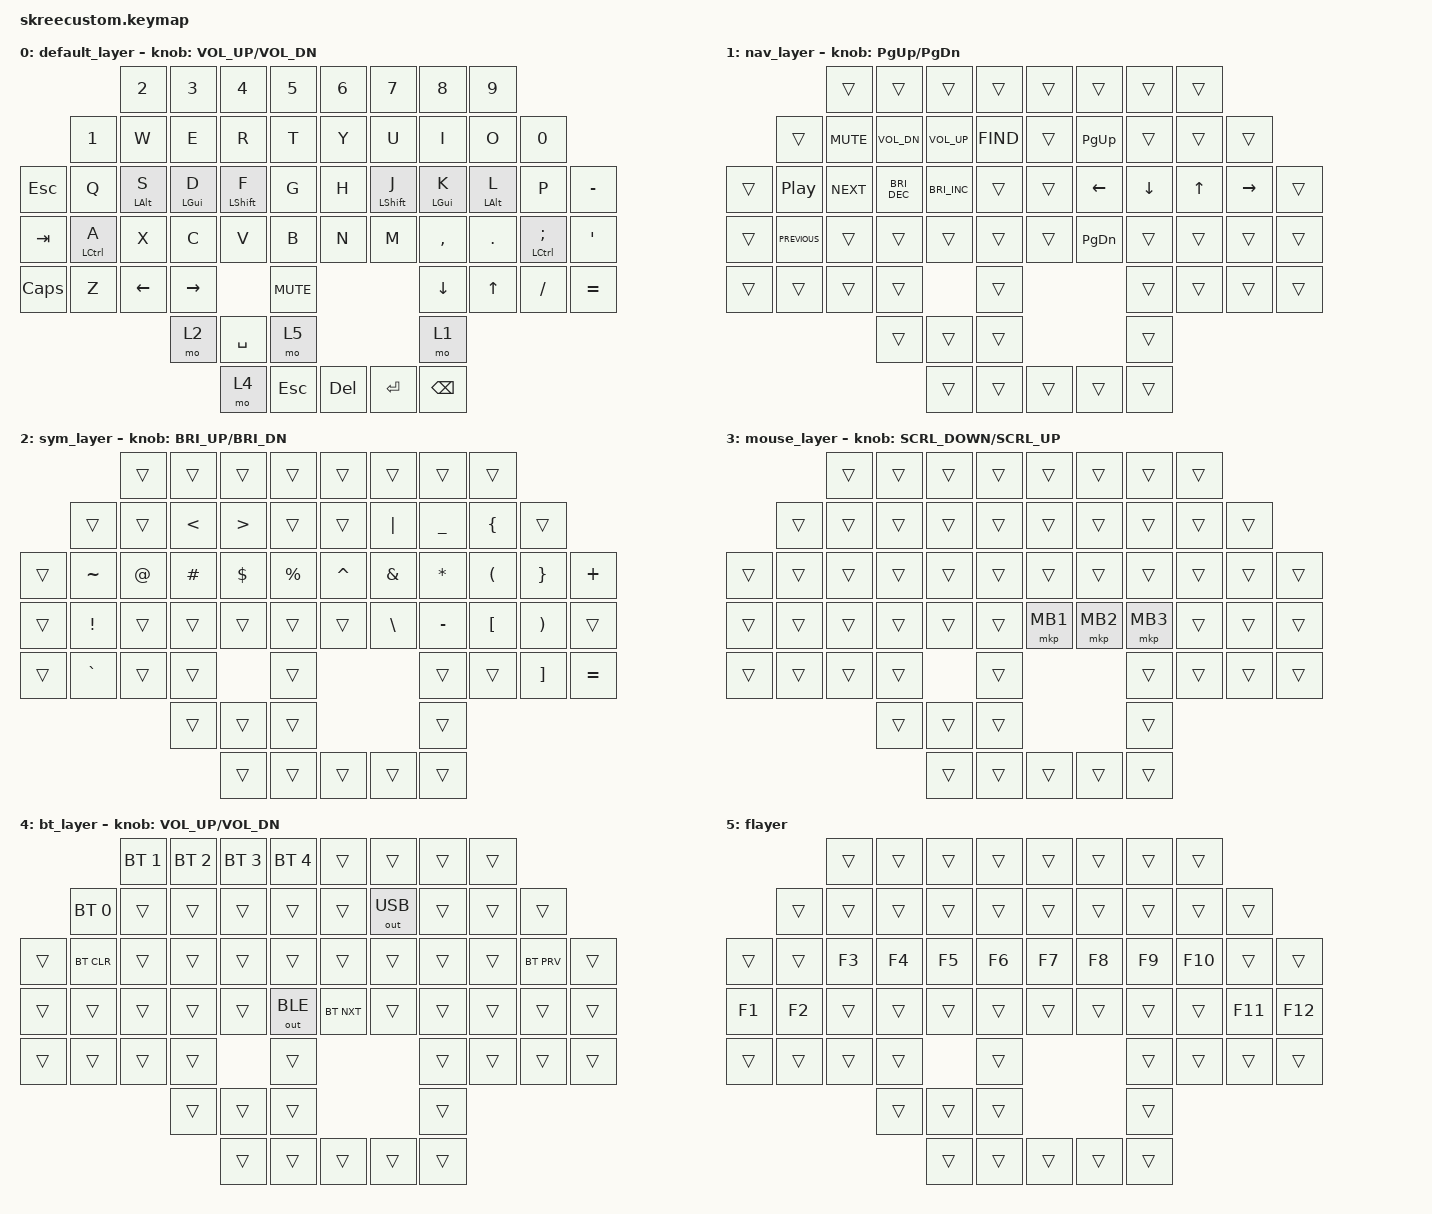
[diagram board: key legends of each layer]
// Generated by zmk-layout --recommend --emit-keymap
// Review before flashing. Copy any extra layers from your existing
// .keymap if you need them — only the layers below are emitted.

#define ZMK_POINTING_DEFAULT_SCRL_VAL 30

#include <input/processors.dtsi>
#include <dt-bindings/zmk/input_transform.h>
#include <dt-bindings/zmk/mouse.h>
#include <behaviors/msc_temp_layer.dtsi>
#include <behaviors.dtsi>
#include <dt-bindings/zmk/bt.h>
#include <dt-bindings/zmk/keys.h>
#include <dt-bindings/zmk/outputs.h>
#include <dt-bindings/zmk/pointing.h>

/ {
    behaviors {
        hm: home_row_mod {
            compatible = "zmk,behavior-hold-tap";
            #binding-cells = <2>;
            flavor = "balanced";
            tapping-term-ms = <280>;
            quick-tap-ms = <175>;
            require-prior-idle-ms = <150>;
            bindings = <&kp>, <&kp>;
        };
    };

    macros {
        vim_save: vim_save {
            compatible = "zmk,behavior-macro";
            #binding-cells = <0>;
            bindings = <&kp ESC &kp COLON &kp W &kp RET>;
        };

        vim_save_quit: vim_save_quit {
            compatible = "zmk,behavior-macro";
            #binding-cells = <0>;
            bindings = <&kp ESC &kp COLON &kp W &kp Q &kp RET>;
        };

        vim_force_quit: vim_force_quit {
            compatible = "zmk,behavior-macro";
            #binding-cells = <0>;
            bindings = <&kp ESC &kp COLON &kp Q &kp EXCL &kp RET>;
        };

        vim_top: vim_top {
            compatible = "zmk,behavior-macro";
            #binding-cells = <0>;
            bindings = <&kp ESC &kp G &kp G>;
        };

        vim_bottom: vim_bottom {
            compatible = "zmk,behavior-macro";
            #binding-cells = <0>;
            bindings = <&kp ESC &kp LS(G)>;
        };

        vim_dup_line: vim_dup_line {
            compatible = "zmk,behavior-macro";
            #binding-cells = <0>;
            bindings = <&kp ESC &kp Y &kp Y &kp P>;
        };

        vim_del_line: vim_del_line {
            compatible = "zmk,behavior-macro";
            #binding-cells = <0>;
            bindings = <&kp ESC &kp D &kp D>;
        };
    };

    keymap {
        compatible = "zmk,keymap";

        default_layer {
            bindings = <
                           &kp N2      &kp N3      &kp N4       &kp N5                 &kp N6   &kp N7       &kp N8      &kp N9
              &kp N1       &kp W       &kp E       &kp R        &kp T                  &kp Y    &kp U        &kp I       &kp O       &kp N0
&kp ESCAPE    &kp Q        &hm LALT S  &hm LGUI D  &hm LSHFT F  &kp G                  &kp H    &hm LSHFT J  &hm LGUI K  &hm LALT L  &kp P           &kp MINUS
&kp TAB       &hm LCTRL A  &kp X       &kp C       &kp V        &kp B                  &kp N    &kp M        &kp COMMA   &kp DOT     &hm LCTRL SEMI  &kp SINGLE_QUOTE
&kp CAPSLOCK  &kp Z        &kp LEFT    &kp RIGHT                         &kp C_MUTE                          &kp DOWN    &kp UP      &kp FSLH        &kp EQUAL
                                       &mo 2       &kp SPACE    &mo 5                                        &mo 1
                                                   &mo 4        &kp ESC                &kp DEL  &kp RET      &kp BSPC
            >;

            sensor-bindings = <&inc_dec_kp C_VOL_UP C_VOL_DN>;
        };

        nav_layer {
            bindings = <
                          &trans      &trans                &trans                &trans                &trans  &trans         &trans    &trans
        &trans            &kp K_MUTE  &kp C_VOL_DN          &kp C_VOLUME_UP       &kp K_FIND            &trans  &kp PAGE_UP    &trans    &trans        &trans
&trans  &kp C_PLAY_PAUSE  &kp C_NEXT  &kp C_BRIGHTNESS_DEC  &kp C_BRIGHTNESS_INC  &trans                &trans  &kp LEFT       &kp DOWN  &kp UP_ARROW  &kp RIGHT  &trans
&trans  &kp C_PREVIOUS    &trans      &trans                &trans                &trans                &trans  &kp PAGE_DOWN  &trans    &trans        &trans     &trans
&trans  &trans            &trans      &trans                                                  &trans                           &trans    &trans        &trans     &trans
                                      &trans                &trans                &trans                                       &trans
                                                            &trans                &trans                &trans  &trans         &trans
            >;

            sensor-bindings = <&inc_dec_kp PG_UP PG_DN>;
        };

        sym_layer {
            bindings = <
                   &trans  &trans         &trans            &trans               &trans     &trans         &trans     &trans
        &trans     &trans  &kp LESS_THAN  &kp GREATER_THAN  &trans               &trans     &kp PIPE       &kp UNDER  &kp LEFT_BRACE    &trans
&trans  &kp TILDE  &kp AT  &kp HASH       &kp DLLR          &kp PRCNT            &kp CARET  &kp AMPS       &kp STAR   &kp LPAR          &kp RIGHT_BRACE    &kp PLUS
&trans  &kp EXCL   &trans  &trans         &trans            &trans               &trans     &kp BACKSLASH  &kp MINUS  &kp LEFT_BRACKET  &kp RPAR           &trans
&trans  &kp GRAVE  &trans  &trans                                      &trans                              &trans     &trans            &kp RIGHT_BRACKET  &kp EQUAL
                           &trans         &trans            &trans                                         &trans
                                          &trans            &trans               &trans     &trans         &trans
            >;

            sensor-bindings = <&inc_dec_kp C_BRI_UP C_BRI_DN>;
        };

        mouse_layer {
            bindings = <
                &trans  &trans  &trans  &trans            &trans    &trans    &trans    &trans
        &trans  &trans  &trans  &trans  &trans            &trans    &trans    &trans    &trans  &trans
&trans  &trans  &trans  &trans  &trans  &trans            &trans    &trans    &trans    &trans  &trans  &trans
&trans  &trans  &trans  &trans  &trans  &trans            &mkp MB1  &mkp MB2  &mkp MB3  &trans  &trans  &trans
&trans  &trans  &trans  &trans                  &trans                        &trans    &trans  &trans  &trans
                        &trans  &trans  &trans                                &trans
                                &trans  &trans            &trans    &trans    &trans
            >;

            sensor-bindings = <&msc_layer SCRL_DOWN SCRL_UP>;
        };

        bt_layer {
            bindings = <
                      &bt BT_SEL 1  &bt BT_SEL 2  &bt BT_SEL 3  &bt BT_SEL 4            &trans      &trans        &trans  &trans
        &bt BT_SEL 0  &trans        &trans        &trans        &trans                  &trans      &out OUT_USB  &trans  &trans  &trans
&trans  &bt BT_CLR    &trans        &trans        &trans        &trans                  &trans      &trans        &trans  &trans  &bt BT_PRV  &trans
&trans  &trans        &trans        &trans        &trans        &out OUT_BLE            &bt BT_NXT  &trans        &trans  &trans  &trans      &trans
&trans  &trans        &trans        &trans                                    &trans                              &trans  &trans  &trans      &trans
                                    &trans        &trans        &trans                                            &trans
                                                  &trans        &trans                  &trans      &trans        &trans
            >;

            sensor-bindings = <&inc_dec_kp C_VOL_UP C_VOL_DN>;
        };

        flayer {
            bindings = <
                &trans  &trans  &trans  &trans            &trans  &trans  &trans  &trans
        &trans  &trans  &trans  &trans  &trans            &trans  &trans  &trans  &trans   &trans
&trans  &trans  &kp F3  &kp F4  &kp F5  &kp F6            &kp F7  &kp F8  &kp F9  &kp F10  &trans   &trans
&kp F1  &kp F2  &trans  &trans  &trans  &trans            &trans  &trans  &trans  &trans   &kp F11  &kp F12
&trans  &trans  &trans  &trans                  &trans                    &trans  &trans   &trans   &trans
                        &trans  &trans  &trans                            &trans
                                &trans  &trans            &trans  &trans  &trans
            >;
        };
    };
};
